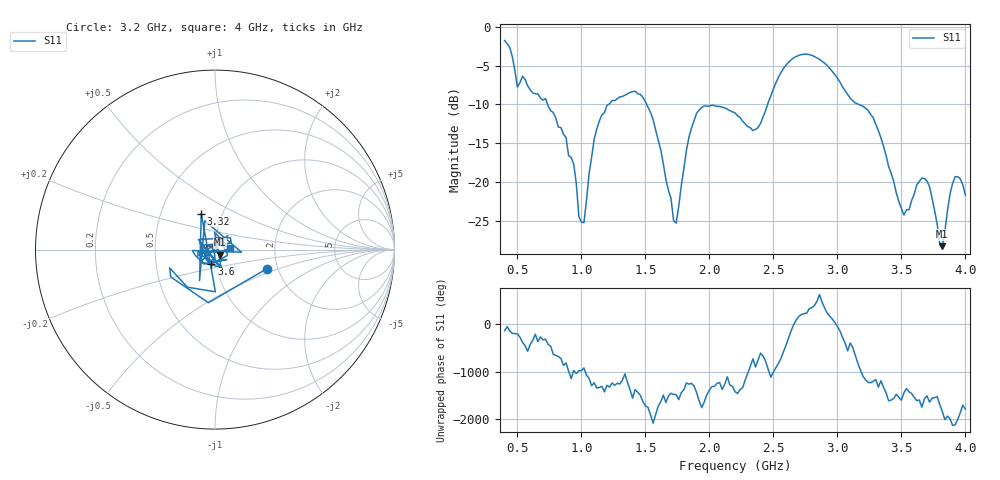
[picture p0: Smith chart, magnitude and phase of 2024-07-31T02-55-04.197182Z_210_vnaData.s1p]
!Created with skrf (http://scikit-rf.org).
# Hz S RI R 50.0
!freq ReS11 ImS11
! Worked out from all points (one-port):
!   181 points, 400 MHz to 4 GHz, reference 50 ohm
!   lowest |S11| = -28.3 dB at 3.82 GHz (marker M1), VSWR 1.08, Z = 52.6 - j2.99 ohm
!   |S11| at or under -10 dB: 735.8 MHz to 1.212 GHz (476.6 MHz wide, 48.9 % of centre); 1.51 GHz to 2.455 GHz (944.7 MHz wide, 47.7 % of centre); 3.167 GHz to end of sweep
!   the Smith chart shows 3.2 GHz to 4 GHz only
!   S11 on the Smith chart (normalised r, x): 3.2 GHz: 1.75, -0.41; 3.32 GHz: 0.80, +0.33; 3.6 GHz: 0.95, -0.16; 4 GHz: 1.18, +0.02
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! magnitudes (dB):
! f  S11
! 400 MHz  -1.8
! 500 MHz  -7.8
! 720 MHz  -9.3
! 860 MHz  -13.8
! 980 MHz  -24.4
! 1.02 GHz  -25.2
! 1.12 GHz  -13.2
! 1.3 GHz  -9.0
! 1.5 GHz  -9.7
! 1.62 GHz  -15.9
! 1.72 GHz  -24.9
! 1.76 GHz  -23.2
! 1.84 GHz  -14.2
! 1.9 GHz  -11.1
! 2.2 GHz  -11.1
! 2.38 GHz  -13.0
! 2.66 GHz  -4.0
! 2.86 GHz  -4.2
! 3.1 GHz  -9.2
! 3.2 GHz  -10.2
! 3.32 GHz  -13.4
! 3.5 GHz  -23.4
! 3.56 GHz  -23.6
! 3.6 GHz  -21.6
! 3.7 GHz  -19.9
! 3.82 GHz  -28.3
! 3.92 GHz  -19.3
! 4 GHz  -21.7
